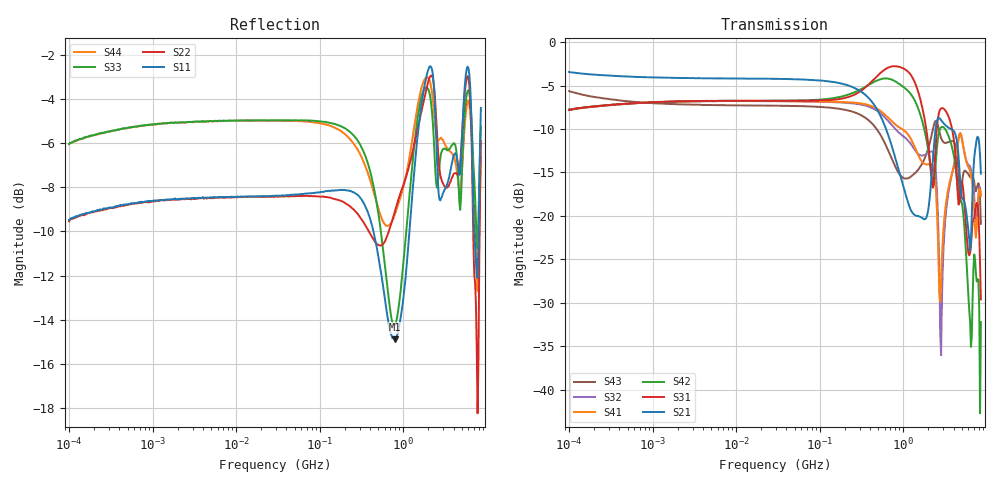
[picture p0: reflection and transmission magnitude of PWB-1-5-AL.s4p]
# MHz S MA R 50
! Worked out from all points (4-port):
!   498 points, 100 kHz to 8.5 GHz, reference 50 ohm
!   strongest paths, dB at 100 kHz, 1.698 MHz, 29.49 MHz, 500.7 MHz, 8.5 GHz:
!     S21: -3.4, -4.1, -4.2, -8.0, -15.1
!     S31: -7.8, -6.8, -6.7, -3.8, -29.6
!     S42: -7.8, -6.9, -6.7, -4.4, -32.2
!     S41: -7.8, -6.9, -6.8, -7.7, -17.7
!     S32: -7.8, -6.9, -6.8, -8.0, -17.6
!     S43: -5.6, -7.1, -7.3, -10.3, -20.9
!   lowest |S11| = -14.9 dB at 790.5 MHz (marker M1), VSWR 1.44, Z = 53.6 - j18.6 ohm
!   |S11| at or under -10 dB: 439.7 MHz to 1.187 GHz (746.8 MHz wide, 91.9 % of centre); 7.068 GHz to 7.988 GHz (919.3 MHz wide, 12.2 % of centre)
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0.1  0.3358 13.1  0.6741 -6.6  0.4076 13.6  0.4066 -166.5
     0.6741 -6.6  0.3333 14.0  0.4085 -166.8  0.4095 13.1
     0.4076 13.6  0.4085 -166.8  0.498 13.0  0.5237 -12.7
     0.4066 -166.5  0.4095 13.1  0.5237 -12.7  0.4991 13.3
790.5161  0.1802 -68.9  0.2213 176.1  0.7277 -84.0  0.3382 -11.6
          0.2213 176.1  0.3504 -57.8  0.3185 -12.3  0.5974 -93.3
          0.7277 -84.0  0.3185 -12.3  0.1942 -73.3  0.1951 160.9
          0.3382 -11.6  0.5974 -93.3  0.1951 160.9  0.3448 -65.8
2209.207  0.7354 -170.4  0.1812 -90.3  0.1534 121.0  0.1964 138.5
          0.1812 -90.3  0.7091 -166.8  0.2341 146.4  0.1615 116.0
          0.1534 121.0  0.2341 146.4  0.5889 -177.0  0.2986 -110.2
          0.1964 138.5  0.1615 116.0  0.2986 -110.2  0.652 -178.4
2840.13  0.376 158.8  0.3557 151.4  0.4155 81.6  0.04299 -134.3
         0.3557 151.4  0.4172 149.3  0.01577 -119.4  0.3236 76.9
         0.4155 81.6  0.01577 -119.4  0.4754 164.6  0.2806 146.9
         0.04299 -134.3  0.3236 76.9  0.2806 146.9  0.5152 147.2
4187.455  0.4749 16.1  0.2967 -21.0  0.232 -99.0  0.2058 26.6
          0.2967 -21.0  0.4281 -1.1  0.2135 27.9  0.1971 -98.1
          0.232 -99.0  0.2135 27.9  0.4964 -0.1  0.2581 -4.5
          0.2058 26.6  0.1971 -98.1  0.2581 -4.5  0.4557 -0.2
6462.473  0.6157 -149.5  0.07018 -172.7  0.06687 88.4  0.1726 111.3
          0.07018 -172.7  0.5697 -147.2  0.1857 118.8  0.0176 50.6
          0.06687 88.4  0.1857 118.8  0.5951 -141.4  0.1663 154.2
          0.1726 111.3  0.0176 50.6  0.1663 154.2  0.5595 -142.2
8500  0.6016 -35.9  0.1752 -98.6  0.03304 -127.6  0.1302 -83.1
      0.1752 -98.6  0.5069 -40.6  0.1316 -78.6  0.02446 -7.8
      0.03304 -127.6  0.1316 -78.6  0.5455 -40.1  0.08993 -91.5
      0.1302 -83.1  0.02446 -7.8  0.08993 -91.5  0.4652 -43.5
